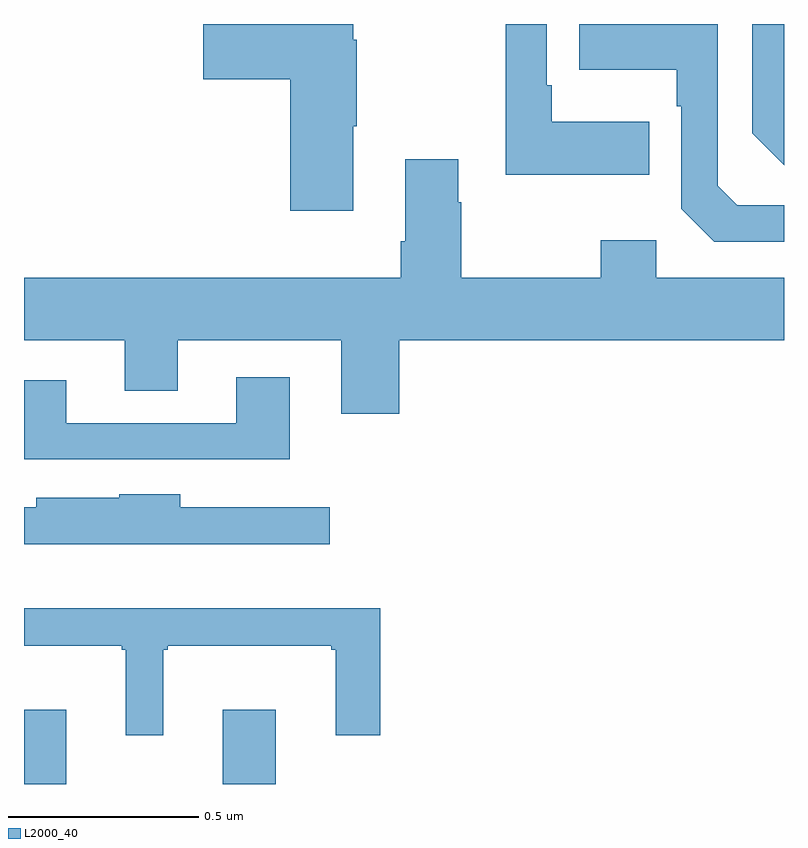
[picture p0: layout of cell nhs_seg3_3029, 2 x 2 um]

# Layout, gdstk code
import gdstk
lib = gdstk.Library(unit=1e-6, precision=1e-09)
def R(c, l, rs):  # rectangles x0, y0, x1, y1
    for r in rs: c.add(gdstk.rectangle(r[:2], r[2:], *l))
def P(c, l, *ps):  # polygons
    for p in ps: c.add(gdstk.Polygon(p, *l))
L2000_40 = (2000, 40)

nhs_seg3_3029 = lib.new_cell('nhs_seg3_3029')
R(nhs_seg3_3029, L2000_40, [(148,714.4,148.111,714.595), (148.523,714.4,148.663,714.595)])
P(nhs_seg3_3029, L2000_40, [(150,716.4),(149.916,716.4),(149.916,716.112),(150,716.028)],
  [(150,715.923),(149.877,715.923),(149.826,715.974),(149.826,716.4),(149.461,716.4),(149.461,716.279),(149.718,716.279),(149.718,716.183),(149.73,716.183),(149.73,715.914),(149.817,715.827),(150,715.827)],
  [(149.645,716.143),(149.389,716.143),(149.389,716.239),(149.376,716.239),(149.376,716.4),(149.268,716.4),(149.268,716.003),(149.645,716.003)],
  [(148.867,716.131),(148.875,716.131),(148.875,716.359),(148.867,716.359),(148.867,716.4),(148.472,716.4),(148.472,716.255),(148.7,716.255),(148.7,715.908),(148.867,715.908)],
  [(148.988,715.568),(150,715.568),(150,715.732),(149.664,715.732),(149.664,715.831),(149.518,715.831),(149.518,715.732),(149.151,715.732),(149.151,715.931),(149.143,715.931),(149.143,716.044),(149.003,716.044),(149.003,715.828),(148.991,715.828),(148.991,715.732),(148,715.732),(148,715.568),(148.265,715.568),(148.265,715.435),(148.405,715.435),(148.405,715.568),(148.835,715.568),(148.835,715.374),(148.988,715.374)],
  [(148.699,715.471),(148.559,715.471),(148.559,715.35),(148.111,715.35),(148.111,715.462),(148,715.462),(148,715.254),(148.699,715.254)],
  [(148.804,715.128),(148.411,715.128),(148.411,715.162),(148.251,715.162),(148.251,715.153),(148.032,715.153),(148.032,715.128),(148,715.128),(148,715.031),(148.804,715.031)],
  [(148.366,714.753),(148.378,714.753),(148.378,714.764),(148.809,714.764),(148.809,714.753),(148.82,714.753),(148.82,714.528),(148.937,714.528),(148.937,714.862),(148,714.862),(148,714.764),(148.257,714.764),(148.257,714.753),(148.268,714.753),(148.268,714.528),(148.366,714.528)])

lib.write_gds('nhs_seg3_3029.gds')
